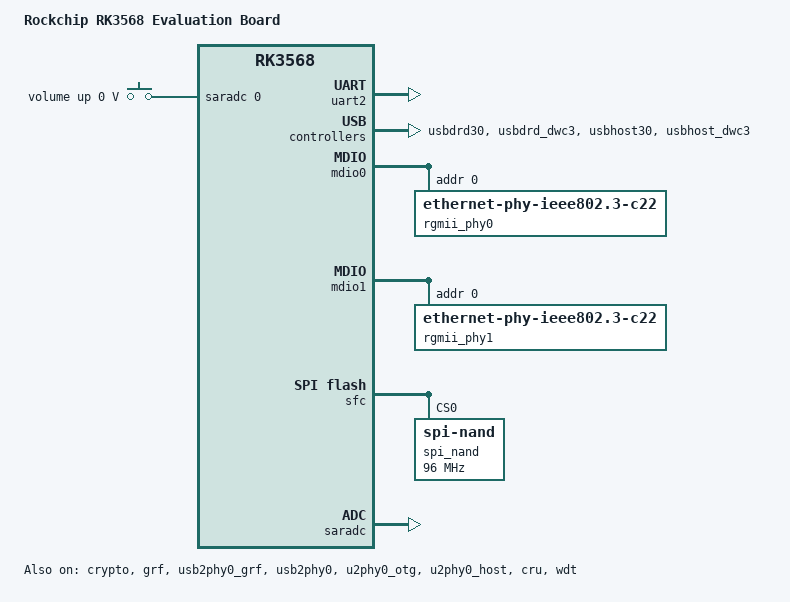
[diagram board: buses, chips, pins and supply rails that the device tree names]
/*
 * SPDX-License-Identifier:     GPL-2.0+
 *
 * (C) Copyright 2021 Rockchip Electronics Co., Ltd
 */

/dts-v1/;
#include "rk3568.dtsi"
#include <dt-bindings/input/input.h>

/ {
	model = "Rockchip RK3568 Evaluation Board";
	compatible = "rockchip,rk3568-evb", "rockchip,rk3568";

	aliases {
		ethernet0 = &gmac0;
		ethernet1 = &gmac1;
		mmc0 = &sdhci;
		mmc1 = &sdmmc0;
		mmc2 = &sdmmc1;
	};

	chosen {
		stdout-path = &uart2;
		u-boot,spl-boot-order = &spi_nand;
	};

	adc-keys {
		compatible = "adc-keys";
		io-channels = <&saradc 0>;
		io-channel-names = "buttons";
		keyup-threshold-microvolt = <1800000>;
		u-boot,dm-spl;
		status = "okay";

		volumeup-key {
			u-boot,dm-spl;
			linux,code = <KEY_VOLUMEUP>;
			label = "volume up";
			press-threshold-microvolt = <9>;
		};
	};
};

&crypto {
	u-boot,dm-pre-reloc;
	status = "okay";
};

&uart2 {
	clock-frequency = <24000000>;
	u-boot,dm-spl;
	/delete-property/ pinctrl-names;
	/delete-property/ pinctrl-0;
	status = "okay";
};

&grf {
	u-boot,dm-pre-reloc;
	status = "okay";
};

&pmugrf {
	u-boot,dm-pre-reloc;
	status = "okay";
};

&usb2phy0_grf {
	u-boot,dm-pre-reloc;
	status = "okay";
};

&usbdrd30 {
	u-boot,dm-pre-reloc;
	status = "okay";
};

&usbdrd_dwc3 {
	u-boot,dm-pre-reloc;
	status = "okay";
};

&usbhost30 {
	u-boot,dm-pre-reloc;
	status = "okay";
};

&usbhost_dwc3 {
	u-boot,dm-pre-reloc;
	status = "okay";
};

&usb2phy0 {
	u-boot,dm-pre-reloc;
	status = "okay";
};

&u2phy0_otg {
	u-boot,dm-pre-reloc;
	status = "okay";
};

&u2phy0_host {
	u-boot,dm-pre-reloc;
	status = "okay";
};

&cru {
	u-boot,dm-pre-reloc;
	status = "okay";
};

&pmucru {
	u-boot,dm-pre-reloc;
	status = "okay";
};

&gmac0_clkin{
	u-boot,dm-pre-reloc;
};

&gmac1_clkin {
	u-boot,dm-pre-reloc;
};

&gmac0 {
	u-boot,dm-pre-reloc;
	phy-mode = "rgmii";
	clock_in_out = "output";

	snps,reset-gpio = <&gpio2 RK_PD3 GPIO_ACTIVE_LOW>;
	snps,reset-active-low;
	/* Reset time is 20ms, 100ms for rtl8211f */
	snps,reset-delays-us = <0 20000 100000>;
	assigned-clocks = <&cru SCLK_GMAC0_RX_TX>, <&cru SCLK_GMAC0>;
	assigned-clock-parents = <&cru SCLK_GMAC0_RGMII_SPEED>;
	assigned-clock-rates = <0>, <125000000>;

	pinctrl-names = "default";
	pinctrl-0 = <&gmac0_miim
		     &gmac0_tx_bus2
		     &gmac0_rx_bus2
		     &gmac0_rgmii_clk
		     &gmac0_rgmii_bus>;

	tx_delay = <0x3c>;
	rx_delay = <0x2f>;

	phy-handle = <&rgmii_phy0>;
	status = "disabled";
};

&gmac1 {
	u-boot,dm-pre-reloc;
	phy-mode = "rgmii";
	clock_in_out = "output";

	snps,reset-gpio = <&gpio2 RK_PD1 GPIO_ACTIVE_LOW>;
	snps,reset-active-low;
	/* Reset time is 20ms, 100ms for rtl8211f */
	snps,reset-delays-us = <0 20000 100000>;

	assigned-clocks = <&cru SCLK_GMAC1_RX_TX>, <&cru SCLK_GMAC1>;
	assigned-clock-parents = <&cru SCLK_GMAC1_RGMII_SPEED>;
	assigned-clock-rates = <0>, <125000000>;

	pinctrl-names = "default";
	pinctrl-0 = <&gmac1m1_miim
		     &gmac1m1_tx_bus2
		     &gmac1m1_rx_bus2
		     &gmac1m1_rgmii_clk
		     &gmac1m1_rgmii_bus>;

	tx_delay = <0x4f>;
	rx_delay = <0x26>;

	phy-handle = <&rgmii_phy1>;
	status = "disabled";
};

&gmac0_stmmac_axi_setup {
	u-boot,dm-pre-reloc;
};

&gmac0_mtl_rx_setup {
	u-boot,dm-pre-reloc;
	queue0 {
		u-boot,dm-pre-reloc;
	};
};

&gmac0_mtl_tx_setup {
	u-boot,dm-pre-reloc;
	queue0 {
		u-boot,dm-pre-reloc;
	};
};

&gmac1_stmmac_axi_setup {
	u-boot,dm-pre-reloc;
};

&gmac1_mtl_rx_setup {
	u-boot,dm-pre-reloc;
	queue0 {
		u-boot,dm-pre-reloc;
	};
};

&gmac1_mtl_tx_setup {
	u-boot,dm-pre-reloc;
	queue0 {
		u-boot,dm-pre-reloc;
	};
};

&mdio0 {
	u-boot,dm-pre-reloc;
	rgmii_phy0: phy@0 {
		compatible = "ethernet-phy-ieee802.3-c22";
		u-boot,dm-pre-reloc;
		reg = <0x0>;
	};
};

&mdio1 {
	u-boot,dm-pre-reloc;
	rgmii_phy1: phy@0 {
		compatible = "ethernet-phy-ieee802.3-c22";
		u-boot,dm-pre-reloc;
		reg = <0x0>;
	};
};

&gmac0_miim {
	u-boot,dm-pre-reloc;
};

&gmac0_clkinout {
	u-boot,dm-pre-reloc;
};

&gmac0_rx_bus2 {
	u-boot,dm-pre-reloc;
};

&gmac0_tx_bus2 {
	u-boot,dm-pre-reloc;
};

&gmac0_rgmii_clk {
	u-boot,dm-pre-reloc;
};

&gmac0_rgmii_bus {
	u-boot,dm-pre-reloc;
};

&gmac1m1_miim {
	u-boot,dm-pre-reloc;
};

&gmac1m1_clkinout {
	u-boot,dm-pre-reloc;
};

&gmac1m1_rx_bus2 {
	u-boot,dm-pre-reloc;
};

&gmac1m1_tx_bus2 {
	u-boot,dm-pre-reloc;
};

&gmac1m1_rgmii_clk {
	u-boot,dm-pre-reloc;
};

&gmac1m1_rgmii_bus {
	u-boot,dm-pre-reloc;
};

&eth0_clkout_pins {
	u-boot,dm-pre-reloc;
};

&eth1m1_clkout_pins {
	u-boot,dm-pre-reloc;
};

&pinctrl {
	u-boot,dm-pre-reloc;
	status = "okay";
};

&gpio2 {
	u-boot,dm-pre-reloc;
};

&pcfg_pull_none_drv_level_1 {
	u-boot,dm-pre-reloc;
};

&pcfg_pull_none_drv_level_2 {
	u-boot,dm-pre-reloc;
};

&pcfg_pull_none {
	u-boot,dm-pre-reloc;
};

&wdt {
	u-boot,dm-pre-reloc;
	status = "okay";
};

&sfc {
	u-boot,dm-spl;
	/delete-property/ pinctrl-names;
	/delete-property/ pinctrl-0;
	/delete-property/ assigned-clocks;
	/delete-property/ assigned-clock-rates;
	status = "okay";

	#address-cells = <1>;
	#size-cells = <0>;
	spi_nand: flash@0 {
		u-boot,dm-spl;
		compatible = "spi-nand";
		reg = <0>;
		spi-tx-bus-width = <1>;
		spi-rx-bus-width = <4>;
		spi-max-frequency = <96000000>;
	};
};

&saradc {
	u-boot,dm-spl;
	status = "okay";
};
